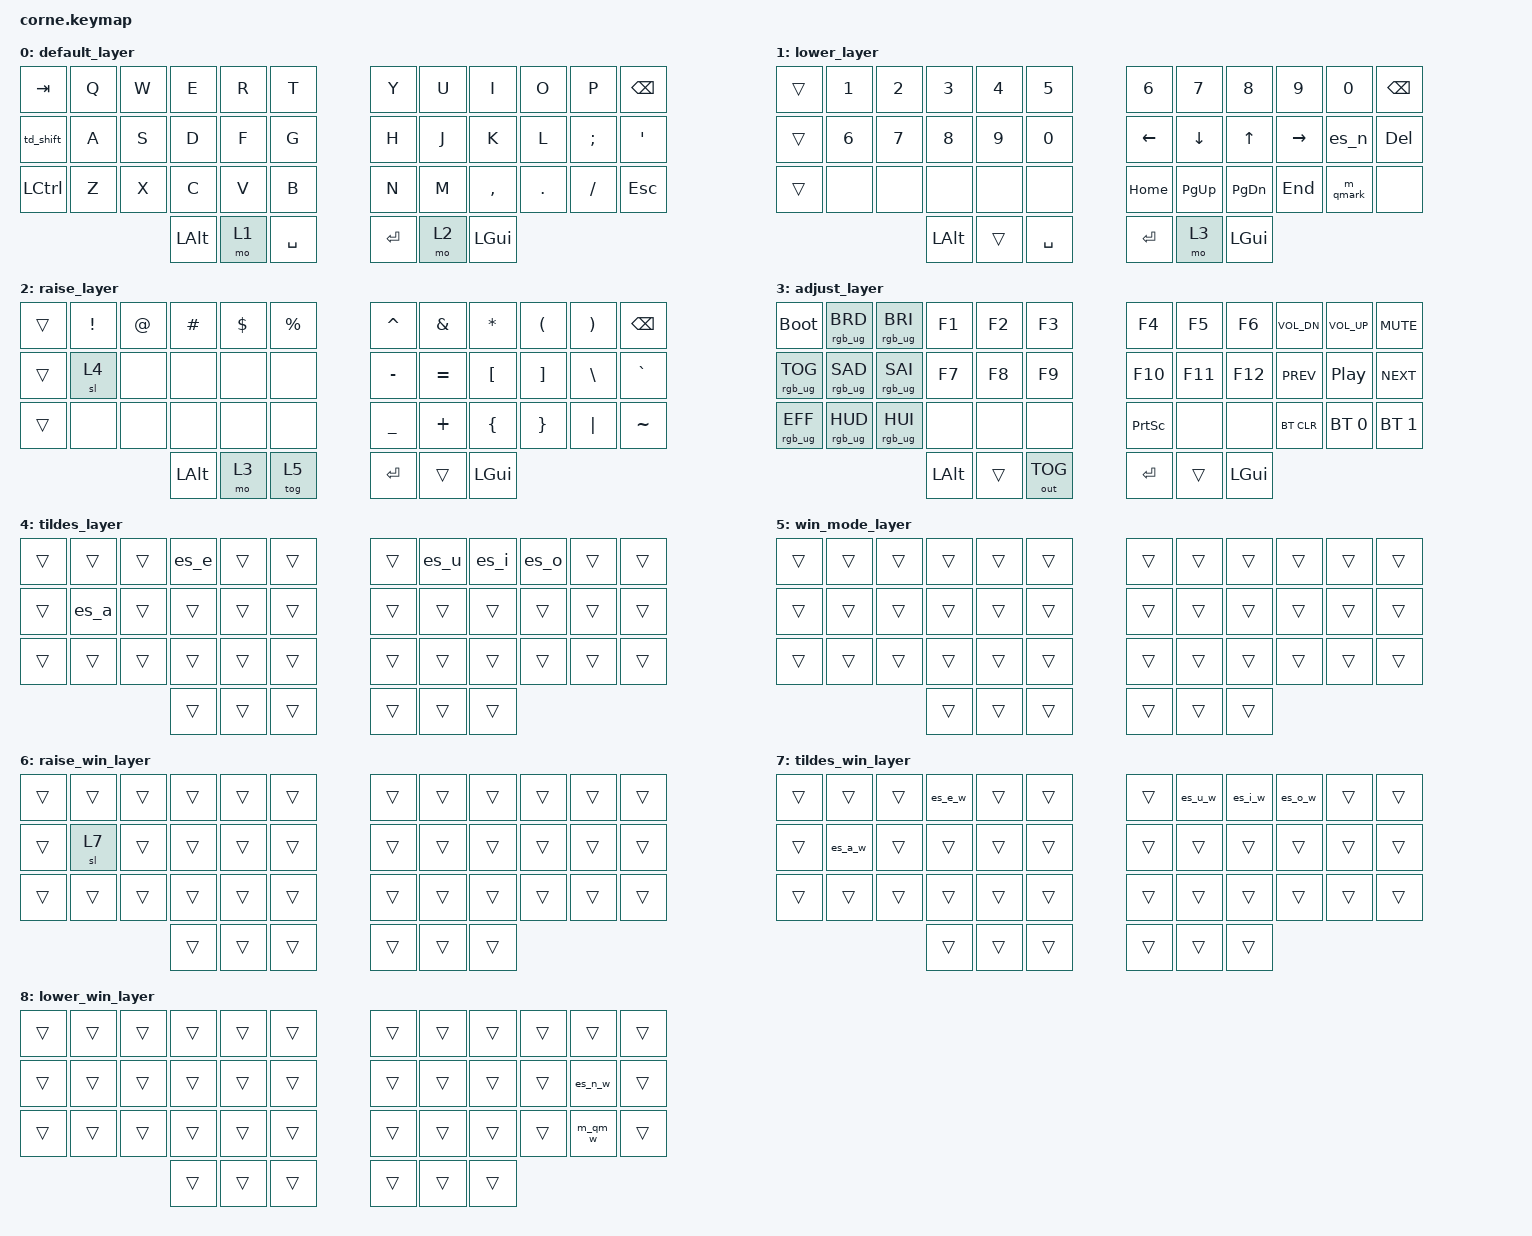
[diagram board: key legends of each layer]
#include <behaviors.dtsi>
#include <dt-bindings/zmk/keys.h>
#include <dt-bindings/zmk/bt.h>
#include <dt-bindings/zmk/rgb.h>
#include <dt-bindings/zmk/outputs.h>

&led_strip {
	chain-length = <27>;
};

/ {

    // ── Capas condicionales ───────────────────────────────────────────────
    // Se activan automáticamente cuando ambas capas indicadas están activas.
    // Esto evita que el modo Windows interfiera con la capa base.
    conditional_layers {
        compatible = "zmk,conditional-layers";

        // Raise (2) + modo Windows (5) → Raise Windows (6) con &sl 7
        win_raise_layer {
            if-layers = <2 5>;
            then-layer = <6>;
        };

        // Lower (1) + modo Windows (5) → Lower Windows (8) con es_n_w y m_qm_w
        win_lower_layer {
            if-layers = <1 5>;
            then-layer = <8>;
        };
    };

    // ── Macros Unicode ────────────────────────────────────────────────────
    macros {

        // ── Linux: Ctrl+Shift+U → hex → Enter (GTK) ──────────────────────
        m_a:   m_a   { compatible = "zmk,behavior-macro"; #binding-cells = <0>;
            bindings = <&macro_press &kp LCTRL &kp LSHFT>, <&macro_tap &kp U>,
                       <&macro_release &kp LSHFT &kp LCTRL>, <&macro_tap &kp E &kp N1 &kp RET>; };
        m_e:   m_e   { compatible = "zmk,behavior-macro"; #binding-cells = <0>;
            bindings = <&macro_press &kp LCTRL &kp LSHFT>, <&macro_tap &kp U>,
                       <&macro_release &kp LSHFT &kp LCTRL>, <&macro_tap &kp E &kp N9 &kp RET>; };
        m_i:   m_i   { compatible = "zmk,behavior-macro"; #binding-cells = <0>;
            bindings = <&macro_press &kp LCTRL &kp LSHFT>, <&macro_tap &kp U>,
                       <&macro_release &kp LSHFT &kp LCTRL>, <&macro_tap &kp E &kp D &kp RET>; };
        m_o:   m_o   { compatible = "zmk,behavior-macro"; #binding-cells = <0>;
            bindings = <&macro_press &kp LCTRL &kp LSHFT>, <&macro_tap &kp U>,
                       <&macro_release &kp LSHFT &kp LCTRL>, <&macro_tap &kp F &kp N3 &kp RET>; };
        m_u:   m_u   { compatible = "zmk,behavior-macro"; #binding-cells = <0>;
            bindings = <&macro_press &kp LCTRL &kp LSHFT>, <&macro_tap &kp U>,
                       <&macro_release &kp LSHFT &kp LCTRL>, <&macro_tap &kp F &kp A &kp RET>; };
        m_n:   m_n   { compatible = "zmk,behavior-macro"; #binding-cells = <0>;
            bindings = <&macro_press &kp LCTRL &kp LSHFT>, <&macro_tap &kp U>,
                       <&macro_release &kp LSHFT &kp LCTRL>, <&macro_tap &kp F &kp N1 &kp RET>; };
        m_qmark: m_qmark { compatible = "zmk,behavior-macro"; #binding-cells = <0>;
            bindings = <&macro_press &kp LCTRL &kp LSHFT>, <&macro_tap &kp U>,
                       <&macro_release &kp LSHFT &kp LCTRL>, <&macro_tap &kp B &kp F &kp RET>; };
        // Mayúsculas Linux
        m_a_up: m_a_up { compatible = "zmk,behavior-macro"; #binding-cells = <0>;
            bindings = <&macro_press &kp LCTRL &kp LSHFT>, <&macro_tap &kp U>,
                       <&macro_release &kp LSHFT &kp LCTRL>, <&macro_tap &kp C &kp N1 &kp RET>; };
        m_e_up: m_e_up { compatible = "zmk,behavior-macro"; #binding-cells = <0>;
            bindings = <&macro_press &kp LCTRL &kp LSHFT>, <&macro_tap &kp U>,
                       <&macro_release &kp LSHFT &kp LCTRL>, <&macro_tap &kp C &kp N9 &kp RET>; };
        m_i_up: m_i_up { compatible = "zmk,behavior-macro"; #binding-cells = <0>;
            bindings = <&macro_press &kp LCTRL &kp LSHFT>, <&macro_tap &kp U>,
                       <&macro_release &kp LSHFT &kp LCTRL>, <&macro_tap &kp C &kp D &kp RET>; };
        m_o_up: m_o_up { compatible = "zmk,behavior-macro"; #binding-cells = <0>;
            bindings = <&macro_press &kp LCTRL &kp LSHFT>, <&macro_tap &kp U>,
                       <&macro_release &kp LSHFT &kp LCTRL>, <&macro_tap &kp D &kp N3 &kp RET>; };
        m_u_up: m_u_up { compatible = "zmk,behavior-macro"; #binding-cells = <0>;
            bindings = <&macro_press &kp LCTRL &kp LSHFT>, <&macro_tap &kp U>,
                       <&macro_release &kp LSHFT &kp LCTRL>, <&macro_tap &kp D &kp A &kp RET>; };
        m_n_up: m_n_up { compatible = "zmk,behavior-macro"; #binding-cells = <0>;
            bindings = <&macro_press &kp LCTRL &kp LSHFT>, <&macro_tap &kp U>,
                       <&macro_release &kp LSHFT &kp LCTRL>, <&macro_tap &kp D &kp N1 &kp RET>; };

        // ── Windows: WinCompose (RALT = Compose key) + U → hex → Enter ───
        // Si tu Compose key es otra, reemplazá RALT en todas las líneas siguientes.
        m_a_w:    m_a_w    { compatible = "zmk,behavior-macro"; #binding-cells = <0>;
            bindings = <&macro_tap &kp RALT &kp U &kp E &kp N1 &kp RET>; };
        m_e_w:    m_e_w    { compatible = "zmk,behavior-macro"; #binding-cells = <0>;
            bindings = <&macro_tap &kp RALT &kp U &kp E &kp N9 &kp RET>; };
        m_i_w:    m_i_w    { compatible = "zmk,behavior-macro"; #binding-cells = <0>;
            bindings = <&macro_tap &kp RALT &kp U &kp E &kp D &kp RET>; };
        m_o_w:    m_o_w    { compatible = "zmk,behavior-macro"; #binding-cells = <0>;
            bindings = <&macro_tap &kp RALT &kp U &kp F &kp N3 &kp RET>; };
        m_u_w:    m_u_w    { compatible = "zmk,behavior-macro"; #binding-cells = <0>;
            bindings = <&macro_tap &kp RALT &kp U &kp F &kp A &kp RET>; };
        m_n_w:    m_n_w    { compatible = "zmk,behavior-macro"; #binding-cells = <0>;
            bindings = <&macro_tap &kp RALT &kp U &kp F &kp N1 &kp RET>; };
        m_qm_w:   m_qm_w   { compatible = "zmk,behavior-macro"; #binding-cells = <0>;
            bindings = <&macro_tap &kp RALT &kp U &kp B &kp F &kp RET>; };
        // Mayúsculas Windows
        m_a_up_w: m_a_up_w { compatible = "zmk,behavior-macro"; #binding-cells = <0>;
            bindings = <&macro_tap &kp RALT &kp U &kp C &kp N1 &kp RET>; };
        m_e_up_w: m_e_up_w { compatible = "zmk,behavior-macro"; #binding-cells = <0>;
            bindings = <&macro_tap &kp RALT &kp U &kp C &kp N9 &kp RET>; };
        m_i_up_w: m_i_up_w { compatible = "zmk,behavior-macro"; #binding-cells = <0>;
            bindings = <&macro_tap &kp RALT &kp U &kp C &kp D &kp RET>; };
        m_o_up_w: m_o_up_w { compatible = "zmk,behavior-macro"; #binding-cells = <0>;
            bindings = <&macro_tap &kp RALT &kp U &kp D &kp N3 &kp RET>; };
        m_u_up_w: m_u_up_w { compatible = "zmk,behavior-macro"; #binding-cells = <0>;
            bindings = <&macro_tap &kp RALT &kp U &kp D &kp A &kp RET>; };
        m_n_up_w: m_n_up_w { compatible = "zmk,behavior-macro"; #binding-cells = <0>;
            bindings = <&macro_tap &kp RALT &kp U &kp D &kp N1 &kp RET>; };
    };

    // ── Behaviors ─────────────────────────────────────────────────────────
    behaviors {

        // mod_morph Linux: normal = minúscula, Shift = mayúscula
        es_a: es_a { compatible = "zmk,behavior-mod-morph"; #binding-cells = <0>;
            bindings = <&m_a>, <&m_a_up>; mods = <(MOD_LSFT|MOD_RSFT)>; };
        es_e: es_e { compatible = "zmk,behavior-mod-morph"; #binding-cells = <0>;
            bindings = <&m_e>, <&m_e_up>; mods = <(MOD_LSFT|MOD_RSFT)>; };
        es_i: es_i { compatible = "zmk,behavior-mod-morph"; #binding-cells = <0>;
            bindings = <&m_i>, <&m_i_up>; mods = <(MOD_LSFT|MOD_RSFT)>; };
        es_o: es_o { compatible = "zmk,behavior-mod-morph"; #binding-cells = <0>;
            bindings = <&m_o>, <&m_o_up>; mods = <(MOD_LSFT|MOD_RSFT)>; };
        es_u: es_u { compatible = "zmk,behavior-mod-morph"; #binding-cells = <0>;
            bindings = <&m_u>, <&m_u_up>; mods = <(MOD_LSFT|MOD_RSFT)>; };
        es_n: es_n { compatible = "zmk,behavior-mod-morph"; #binding-cells = <0>;
            bindings = <&m_n>, <&m_n_up>; mods = <(MOD_LSFT|MOD_RSFT)>; };

        // mod_morph Windows: normal = minúscula, Shift = mayúscula
        es_a_w: es_a_w { compatible = "zmk,behavior-mod-morph"; #binding-cells = <0>;
            bindings = <&m_a_w>, <&m_a_up_w>; mods = <(MOD_LSFT|MOD_RSFT)>; };
        es_e_w: es_e_w { compatible = "zmk,behavior-mod-morph"; #binding-cells = <0>;
            bindings = <&m_e_w>, <&m_e_up_w>; mods = <(MOD_LSFT|MOD_RSFT)>; };
        es_i_w: es_i_w { compatible = "zmk,behavior-mod-morph"; #binding-cells = <0>;
            bindings = <&m_i_w>, <&m_i_up_w>; mods = <(MOD_LSFT|MOD_RSFT)>; };
        es_o_w: es_o_w { compatible = "zmk,behavior-mod-morph"; #binding-cells = <0>;
            bindings = <&m_o_w>, <&m_o_up_w>; mods = <(MOD_LSFT|MOD_RSFT)>; };
        es_u_w: es_u_w { compatible = "zmk,behavior-mod-morph"; #binding-cells = <0>;
            bindings = <&m_u_w>, <&m_u_up_w>; mods = <(MOD_LSFT|MOD_RSFT)>; };
        es_n_w: es_n_w { compatible = "zmk,behavior-mod-morph"; #binding-cells = <0>;
            bindings = <&m_n_w>, <&m_n_up_w>; mods = <(MOD_LSFT|MOD_RSFT)>; };

        // Tap-dance LSHIFT: 1x = Shift | 2x = Caps Word
        td_shift: td_shift {
            compatible = "zmk,behavior-tap-dance";
            #binding-cells = <0>;
            tapping-term-ms = <200>;
            bindings = <&kp LSHFT>, <&caps_word>;
        };
    };

    keymap {
        compatible = "zmk,keymap";

        // ── Layer 0: QWERTY ───────────────────────────────────────────────
        default_layer {
            bindings = <
   &kp TAB   &kp Q &kp W &kp E &kp R &kp T      &kp Y &kp U  &kp I     &kp O   &kp P    &kp BSPC
   &td_shift &kp A &kp S &kp D &kp F &kp G      &kp H &kp J  &kp K     &kp L   &kp SEMI &kp SQT
   &kp LCTRL &kp Z &kp X &kp C &kp V &kp B      &kp N &kp M  &kp COMMA &kp DOT &kp FSLH &kp ESC
                   &kp LALT &mo 1 &kp SPACE      &kp RET &mo 2 &kp LGUI
            >;
        };

        // ── Layer 1: Lower — Números + Movimiento (Linux) ─────────────────
        // En modo Windows, conditional layer 8 sobreescribe es_n y m_qmark
        lower_layer {
            bindings = <
   &trans &kp N1 &kp N2 &kp N3 &kp N4 &kp N5      &kp N6   &kp N7    &kp N8    &kp N9    &kp N0    &kp BSPC
   &trans &kp N6 &kp N7 &kp N8 &kp N9 &kp N0      &kp LEFT &kp DOWN  &kp UP    &kp RIGHT &es_n     &kp DEL
   &trans &none  &none  &none  &none  &none        &kp HOME &kp PG_UP &kp PG_DN &kp END   &m_qmark  &none
                        &kp LALT &trans &kp SPACE   &kp RET  &mo 3     &kp LGUI
            >;
        };

        // ── Layer 2: Raise — Símbolos (Linux) ─────────────────────────────
        // &sl 4 activa tildes Linux.
        // En modo Windows, conditional layer 6 sobreescribe &sl 4 por &sl 7.
        // &out OUT_TOG reemplaza UC_NEXT: cambia entre salida USB y BLE.
        raise_layer {
            bindings = <
   &trans &kp EXCL &kp AT &kp HASH &kp DLLR &kp PRCNT     &kp CARET &kp AMPS  &kp ASTRK &kp LPAR &kp RPAR &kp BSPC
   &trans &sl 4    &none  &none    &none    &none           &kp MINUS &kp EQUAL &kp LBKT  &kp RBKT &kp BSLH &kp GRAVE
   &trans &none    &none  &none    &none    &none           &kp UNDER &kp PLUS  &kp LBRC  &kp RBRC &kp PIPE &kp TILDE
                          &kp LALT &mo 3    &tog 5          &kp RET   &trans    &kp LGUI
            >;
        };

        // ── Layer 3: Adjust — Funciones + RGB + Bluetooth ─────────────────
        // &tog 5 activa/desactiva el modo Windows (thumb derecho)
        adjust_layer {
            bindings = <
   &bootloader     &rgb_ug RGB_BRD &rgb_ug RGB_BRI &kp F1 &kp F2 &kp F3      &kp F4    &kp F5   &kp F6   &kp C_VOL_DN &kp C_VOL_UP &kp C_MUTE
   &rgb_ug RGB_TOG &rgb_ug RGB_SAD &rgb_ug RGB_SAI &kp F7 &kp F8 &kp F9      &kp F10   &kp F11  &kp F12  &kp C_PREV   &kp C_PP     &kp C_NEXT
   &rgb_ug RGB_EFF &rgb_ug RGB_HUD &rgb_ug RGB_HUI &none  &none  &none        &kp PSCRN &none    &none    &bt BT_CLR   &bt BT_SEL 0 &bt BT_SEL 1
                                   &kp LALT &trans &out OUT_TOG               &kp RET   &trans   &kp LGUI
            >;
        };

        // ── Layer 4: Tildes Linux ──────────────────────────────────────────
        // Activada via &sl 4 desde Layer 2.
        // Shift sostenido → mod_morph envía mayúscula.
        tildes_layer {
            bindings = <
   &trans &trans &trans &es_e  &trans &trans      &trans &es_u  &es_i  &es_o  &trans &trans
   &trans &es_a  &trans &trans &trans &trans      &trans &trans &trans &trans &trans &trans
   &trans &trans &trans &trans &trans &trans      &trans &trans &trans &trans &trans &trans
                        &trans &trans &trans      &trans &trans &trans
            >;
        };

        // ── Layer 5: Modo Windows (toggle) ────────────────────────────────
        // TODO &trans — es solo una bandera para activar las conditional layers.
        // No interfiere con ninguna tecla de la capa base.
        win_mode_layer {
            bindings = <
   &trans &trans &trans &trans &trans &trans      &trans &trans &trans &trans &trans &trans
   &trans &trans &trans &trans &trans &trans      &trans &trans &trans &trans &trans &trans
   &trans &trans &trans &trans &trans &trans      &trans &trans &trans &trans &trans &trans
                        &trans &trans &trans      &trans &trans &trans
            >;
        };

        // ── Layer 6: Raise Windows ────────────────────────────────────────
        // Auto-activada por conditional layer cuando Raise (2) + Windows (5).
        // Solo sobreescribe &sl 4 → &sl 7. Todo lo demás &trans.
        raise_win_layer {
            bindings = <
   &trans &trans &trans &trans &trans &trans      &trans &trans &trans &trans &trans &trans
   &trans &sl 7  &trans &trans &trans &trans      &trans &trans &trans &trans &trans &trans
   &trans &trans &trans &trans &trans &trans      &trans &trans &trans &trans &trans &trans
                        &trans &trans &trans      &trans &trans &trans
            >;
        };

        // ── Layer 7: Tildes Windows ───────────────────────────────────────
        // Activada via &sl 7 desde Layer 6 (Raise Windows).
        tildes_win_layer {
            bindings = <
   &trans  &trans  &trans  &es_e_w &trans &trans      &trans  &es_u_w &es_i_w &es_o_w &trans &trans
   &trans  &es_a_w &trans  &trans  &trans &trans      &trans  &trans  &trans  &trans  &trans &trans
   &trans  &trans  &trans  &trans  &trans &trans      &trans  &trans  &trans  &trans  &trans &trans
                           &trans  &trans &trans      &trans  &trans  &trans
            >;
        };

        // ── Layer 8: Lower Windows ────────────────────────────────────────
        // Auto-activada por conditional layer cuando Lower (1) + Windows (5).
        // Solo sobreescribe es_n y m_qmark con sus equivalentes Windows.
        lower_win_layer {
            bindings = <
   &trans &trans &trans &trans &trans &trans      &trans &trans &trans &trans &trans   &trans
   &trans &trans &trans &trans &trans &trans      &trans &trans &trans &trans &es_n_w  &trans
   &trans &trans &trans &trans &trans &trans      &trans &trans &trans &trans &m_qm_w  &trans
                        &trans &trans &trans      &trans &trans &trans
            >;
        };
    };
};
